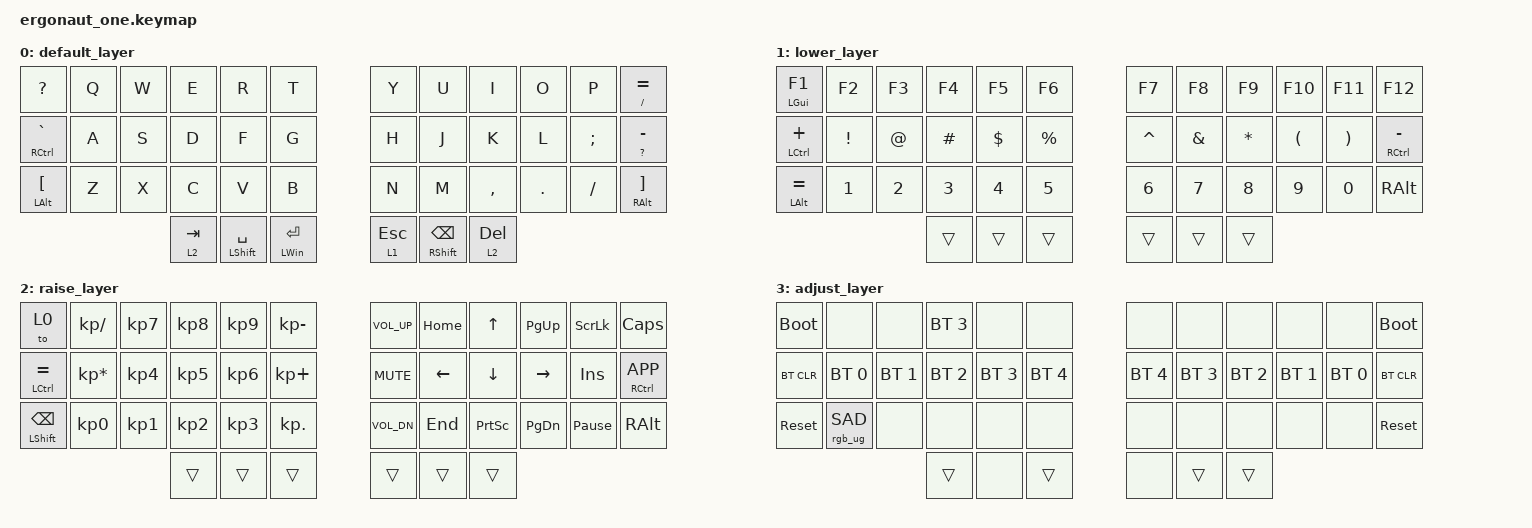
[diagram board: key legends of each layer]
#include <behaviors.dtsi>
#include <dt-bindings/zmk/bt.h>
#include <dt-bindings/zmk/keys.h>
#include <dt-bindings/zmk/rgb.h>

#define DEF 0
#define LWR 1
#define RSE 2
#define ADJ 3

&lt { quick-tap-ms = <200>; };

&mt { quick-tap-ms = <200>; };

/ {
    conditional_layers {
        compatible = "zmk,conditional-layers";

        tri-layer {
            if-layers = <1 2>;
            then-layer = <3>;
        };
    };

    combos {
        compatible = "zmk,combos";

        undo {
            bindings = <&kp LC(Z)>;
            key-positions = <37 13>;
        };

        cut {
            bindings = <&kp LC(X)>;
            key-positions = <37 14>;
        };

        copy {
            bindings = <&kp LC(C)>;
            key-positions = <37 15>;
        };

        paste {
            bindings = <&kp LC(V)>;
            key-positions = <37 16>;
        };

        find {
            bindings = <&kt LC(F)>;
            key-positions = <37 17>;
        };

        newtab {
            bindings = <&kt LC(T)>;
            key-positions = <37 4>;
        };
    };

    keymap {
        compatible = "zmk,keymap";

        default_layer {
            bindings = <
&kp QUESTION               &kp Q  &kp W  &kp E      &kp R                 &kp T             &kp Y      &kp U           &kp I      &kp O       &kp P          &mt SLASH EQUAL
&mt RIGHT_CONTROL GRAVE    &kp A  &kp S  &kp D      &kp F                 &kp G             &kp H      &kp J           &kp K      &kp L       &kp SEMICOLON  &mt QUESTION MINUS
&mt LEFT_ALT LEFT_BRACKET  &kp Z  &kp X  &kp C      &kp V                 &kp B             &kp N      &kp M           &kp COMMA  &kp PERIOD  &kp SLASH      &mt RIGHT_ALT RIGHT_BRACKET
                                         &lt 2 TAB  &mt LEFT_SHIFT SPACE  &mt LEFT_WIN RET  &lt 1 ESC  &mt RSHFT BSPC  &lt 2 DEL
            >;
        };

        lower_layer {
            bindings = <
&mt LGUI F1     &kp F2    &kp F3  &kp F4    &kp F5    &kp F6     &kp F7     &kp F8    &kp F9    &kp F10   &kp F11   &kp F12
&mt LCTRL PLUS  &kp EXCL  &kp AT  &kp HASH  &kp DLLR  &kp PRCNT  &kp CARET  &kp AMPS  &kp STAR  &kp LPAR  &kp RPAR  &mt RCTRL MINUS
&mt LALT EQUAL  &kp N1    &kp N2  &kp N3    &kp N4    &kp N5     &kp N6     &kp N7    &kp N8    &kp N9    &kp N0    &kp RALT
                                  &trans    &trans    &trans     &trans     &trans    &trans
            >;
        };

        raise_layer {
            bindings = <
&to 0                     &kp KP_SLASH     &kp KP_N7  &kp KP_N8  &kp KP_N9  &kp KP_MINUS  &kp C_VOL_UP  &kp HOME  &kp UP_ARROW     &kp PG_UP  &kp SLCK         &kp CLCK
&mt LCTRL EQUAL           &kp KP_MULTIPLY  &kp KP_N4  &kp KP_N5  &kp KP_N6  &kp KP_PLUS   &kp C_MUTE    &kp LEFT  &kp DOWN_ARROW   &kp RIGHT  &kp INS          &mt RCTRL K_APP
&mt LEFT_SHIFT BACKSPACE  &kp KP_N0        &kp KP_N1  &kp KP_N2  &kp KP_N3  &kp KP_DOT    &kp C_VOL_DN  &kp END   &kp PRINTSCREEN  &kp PG_DN  &kp PAUSE_BREAK  &kp RALT
                                                      &trans     &trans     &trans        &trans        &trans    &trans
            >;
        };

        adjust_layer {
            bindings = <
&bootloader  &none            &none         &bt BT_SEL 3  &none         &none         &none         &none         &none         &none         &none         &bootloader
&bt BT_CLR   &bt BT_SEL 0     &bt BT_SEL 1  &bt BT_SEL 2  &bt BT_SEL 3  &bt BT_SEL 4  &bt BT_SEL 4  &bt BT_SEL 3  &bt BT_SEL 2  &bt BT_SEL 1  &bt BT_SEL 0  &bt BT_CLR
&sys_reset   &rgb_ug RGB_SAD  &none         &none         &none         &none         &none         &none         &none         &none         &none         &sys_reset
                                            &trans        &none         &trans        &none         &trans        &trans
            >;
        };
    };
};
